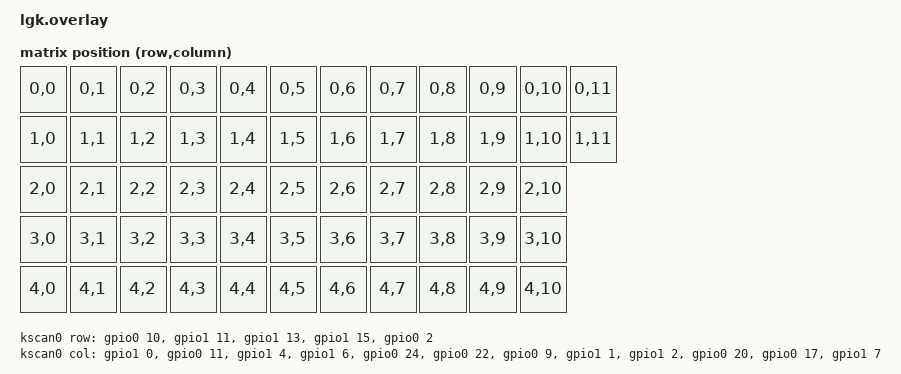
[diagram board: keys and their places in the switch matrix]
/*
 * Copyright (c) 2025
 * SPDX-License-Identifier: MIT
 */

#include <dt-bindings/zmk/matrix_transform.h>

/ {
    chosen {
        zmk,kscan = &kscan0;
        zmk,matrix-transform = &default_transform;
        zmk,physical-layout = &physical_layout;
    };

    default_transform: keymap_transform_0 {
        compatible = "zmk,matrix-transform";
        columns = <12>;  // Physical cols (12 pins in col-gpios)
        rows = <5>;      // Physical rows (5 pins in row-gpios)
        
        map = <
            // Row 1: esc 1 2 3 vld vlu ply 7 8 9 0 bksp (12 keys - uses all columns)
            RC(0,0) RC(0,1) RC(0,2) RC(0,3) RC(0,4) RC(0,5) RC(0,6) RC(0,7) RC(0,8) RC(0,9) RC(0,10) RC(0,11)
            // Row 2: tab q w e 4 5 6 u i o p \ (12 keys - uses all columns)
            RC(1,0) RC(1,1) RC(1,2) RC(1,3) RC(1,4) RC(1,5) RC(1,6) RC(1,7) RC(1,8) RC(1,9) RC(1,10) RC(1,11)
            // Row 3: clk a s d r t y j k l ent (11 keys - no c12)
            RC(2,0) RC(2,1) RC(2,2) RC(2,3) RC(2,4) RC(2,5) RC(2,6) RC(2,7) RC(2,8) RC(2,9) RC(2,10)
            // Row 4: sft z x c f g h m . up sft (11 keys - no c12)
            RC(3,0) RC(3,1) RC(3,2) RC(3,3) RC(3,4) RC(3,5) RC(3,6) RC(3,7) RC(3,8) RC(3,9) RC(3,10)
            // Row 5: ctl fn win sp v b n alt lft dwn rgt (11 keys - no c12)
            RC(4,0) RC(4,1) RC(4,2) RC(4,3) RC(4,4) RC(4,5) RC(4,6) RC(4,7) RC(4,8) RC(4,9) RC(4,10)
        >;
    };

    physical_layout: physical_layout {
        compatible = "zmk,physical-layout";
        display-name = "Default Layout";
        transform = <&default_transform>;
        kscan = <&kscan0>;
    };

    kscan0: kscan {
        compatible = "zmk,kscan-gpio-matrix";
        wakeup-source;
        
        diode-direction = "row2col";
        
        // CRITICAL: row2col means ZMK drives "row-gpios" as outputs, reads "col-gpios" as inputs
        // Physical wiring: cathode→rows, anode→columns
        // For current to flow col→row, we need columns as inputs (source), rows as outputs (sink)
        // Therefore: SWAP - physical ROWS in row-gpios (outputs), physical COLS in col-gpios (inputs)
        
        row-gpios
            = <&gpio0 10 GPIO_ACTIVE_LOW>  // Physical r1: P0.10 (driven LOW to sink current)
            , <&gpio1 11 GPIO_ACTIVE_LOW>  // Physical r2: P1.11
            , <&gpio1 13 GPIO_ACTIVE_LOW>  // Physical r3: P1.13
            , <&gpio1 15 GPIO_ACTIVE_LOW>  // Physical r4: P1.15
            , <&gpio0 2  GPIO_ACTIVE_LOW>  // Physical r5: P0.02
            ;
        
        col-gpios
            = <&gpio1 0  (GPIO_ACTIVE_LOW | GPIO_PULL_UP)>   // Physical c1 (esc): P1.00
            , <&gpio0 11 (GPIO_ACTIVE_LOW | GPIO_PULL_UP)>   // Physical c2 (1): P0.11
            , <&gpio1 4  (GPIO_ACTIVE_LOW | GPIO_PULL_UP)>   // Physical c3 (2): P1.04
            , <&gpio1 6  (GPIO_ACTIVE_LOW | GPIO_PULL_UP)>   // Physical c4 (3): P1.06 (was c6)
            , <&gpio0 24 (GPIO_ACTIVE_LOW | GPIO_PULL_UP)>   // Physical c5 (vold): P0.24
            , <&gpio0 22 (GPIO_ACTIVE_LOW | GPIO_PULL_UP)>   // Physical c6 (volup): P0.22 (was c4)
            , <&gpio0 9  (GPIO_ACTIVE_LOW | GPIO_PULL_UP)>   // Physical c7 (play): P0.09
            , <&gpio1 1  (GPIO_ACTIVE_LOW | GPIO_PULL_UP)>   // Physical c8 (7): P1.01
            , <&gpio1 2  (GPIO_ACTIVE_LOW | GPIO_PULL_UP)>   // Physical c9 (8): P1.02
            , <&gpio0 20 (GPIO_ACTIVE_LOW | GPIO_PULL_UP)>   // Physical c10 (9): P0.20
            , <&gpio0 17 (GPIO_ACTIVE_LOW | GPIO_PULL_UP)>   // Physical c11 (0): P0.17
            , <&gpio1 7  (GPIO_ACTIVE_LOW | GPIO_PULL_UP)>   // Physical c12 (bksp): P1.07
            ;
    };
};
